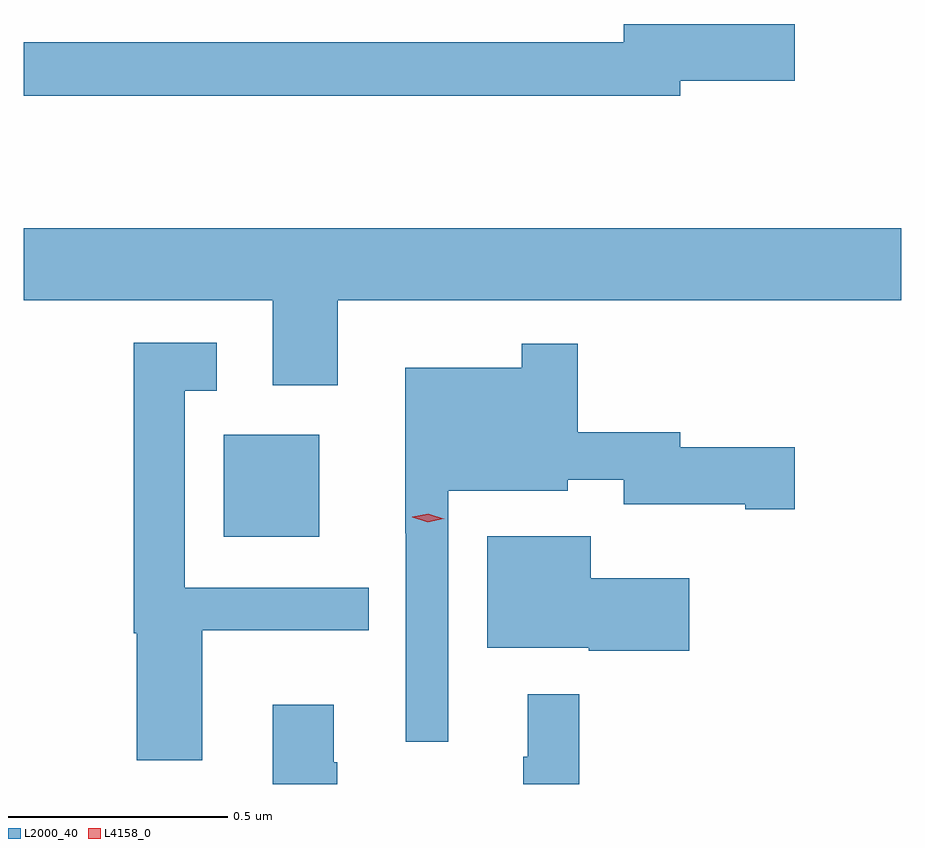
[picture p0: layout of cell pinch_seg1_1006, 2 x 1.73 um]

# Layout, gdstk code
import gdstk
lib = gdstk.Library(unit=1e-6, precision=1e-09)
def R(c, l, rs):  # rectangles x0, y0, x1, y1
    for r in rs: c.add(gdstk.rectangle(r[:2], r[2:], *l))
def P(c, l, *ps):  # polygons
    for p in ps: c.add(gdstk.Polygon(p, *l))
L2000_40 = (2000, 40)
L4158_0 = (4158, 0)

pinch_seg1_1006 = lib.new_cell('pinch_seg1_1006')
R(pinch_seg1_1006, L2000_40, [(298.742,551.192,298.96,551.425)])
P(pinch_seg1_1006, L2000_40, [(299.782,552.232),(300.043,552.232),(300.043,552.361),(299.654,552.361),(299.654,552.319),(298.286,552.319),(298.286,552.198),(299.782,552.198)],
  [(299.002,551.732),(300.286,551.732),(300.286,551.896),(298.286,551.896),(298.286,551.732),(298.853,551.732),(298.853,551.538),(299.002,551.538)],
  [(298.693,550.979),(299.072,550.979),(299.072,551.076),(298.653,551.076),(298.653,551.525),(298.726,551.525),(298.726,551.635),(298.537,551.635),(298.537,550.973),(298.544,550.973),(298.544,550.683),(298.693,550.683)],
  [(299.253,551.297),(299.526,551.297),(299.526,551.322),(299.654,551.322),(299.654,551.267),(299.93,551.267),(299.93,551.255),(300.043,551.255),(300.043,551.397),(299.782,551.397),(299.782,551.431),(299.549,551.431),(299.549,551.632),(299.421,551.632),(299.421,551.578),(299.156,551.578),(299.156,551.201),(299.157,551.201),(299.157,550.725),(299.253,550.725)],
  [(299.803,551.098),(299.578,551.098),(299.578,551.194),(299.342,551.194),(299.342,550.94),(299.574,550.94),(299.574,550.933),(299.803,550.933)],
  [(299.552,550.834),(299.435,550.834),(299.435,550.691),(299.424,550.691),(299.424,550.629),(299.552,550.629)],
  [(299.001,550.679),(298.993,550.679),(298.993,550.81),(298.853,550.81),(298.853,550.629),(299.001,550.629)])
P(pinch_seg1_1006, L4158_0, [(299.207,551.225),(299.172,551.237),(299.172,551.237),(299.172,551.238),(299.208,551.245),(299.243,551.234),(299.244,551.234),(299.243,551.233)])

lib.write_gds('pinch_seg1_1006.gds')
